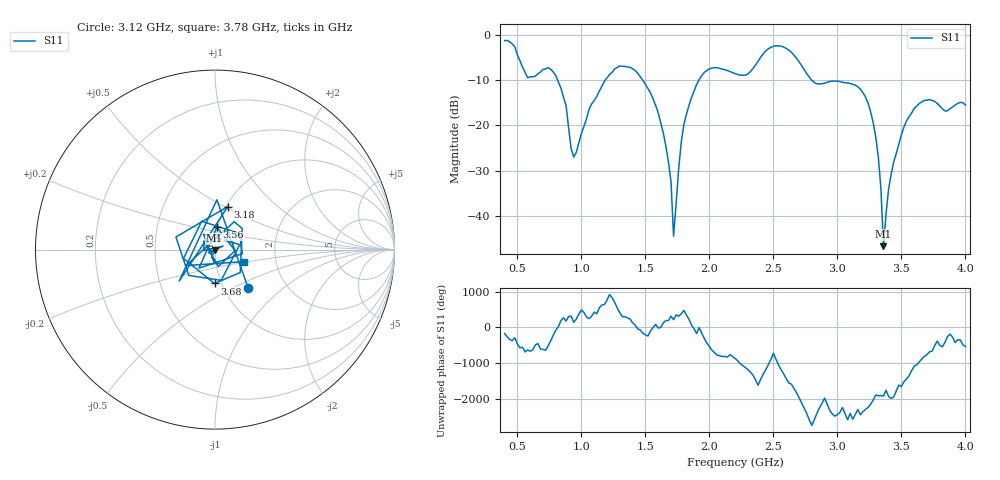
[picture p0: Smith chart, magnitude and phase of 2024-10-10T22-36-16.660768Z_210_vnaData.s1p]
! Created with skrf (http://scikit-rf.org).
# Hz S RI R 50.0
!freq ReS11 ImS11
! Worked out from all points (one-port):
!   181 points, 400 MHz to 4 GHz, reference 50 ohm
!   lowest |S11| = -46.6 dB at 3.36 GHz (marker M1), VSWR 1.01, Z = 49.7 - j0.387 ohm
!   |S11| at or under -10 dB: 813.7 MHz to 1.186 GHz (372.7 MHz wide, 37.3 % of centre); 1.479 GHz to 1.918 GHz (439.4 MHz wide, 25.9 % of centre); 2.798 GHz to end of sweep
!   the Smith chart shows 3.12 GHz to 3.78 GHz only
!   S11 on the Smith chart (normalised r, x): 3.12 GHz: 1.29, -0.61; 3.18 GHz: 1.02, +0.52; 3.56 GHz: 0.99, +0.25; 3.68 GHz: 0.93, -0.36; 3.78 GHz: 1.37, -0.19
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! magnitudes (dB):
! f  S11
! 400 MHz  -1.3
! 580 MHz  -9.5
! 760 MHz  -7.6
! 860 MHz  -13.8
! 940 MHz  -27.0
! 1.08 GHz  -15.3
! 1.3 GHz  -6.9
! 1.6 GHz  -17.2
! 1.7 GHz  -32.4
! 1.72 GHz  -44.4
! 1.76 GHz  -29.6
! 1.8 GHz  -19.9
! 1.92 GHz  -9.9
! 2.2 GHz  -8.6
! 2.5 GHz  -2.6
! 2.66 GHz  -4.5
! 2.82 GHz  -10.6
! 3.1 GHz  -10.7
! 3.12 GHz  -10.9
! 3.18 GHz  -12.0
! 3.3 GHz  -22.6
! 3.34 GHz  -33.9
! 3.36 GHz  -46.6
! 3.42 GHz  -30.7
! 3.56 GHz  -18.0
! 3.68 GHz  -14.5
! 3.78 GHz  -15.2
! 4 GHz  -15.5
